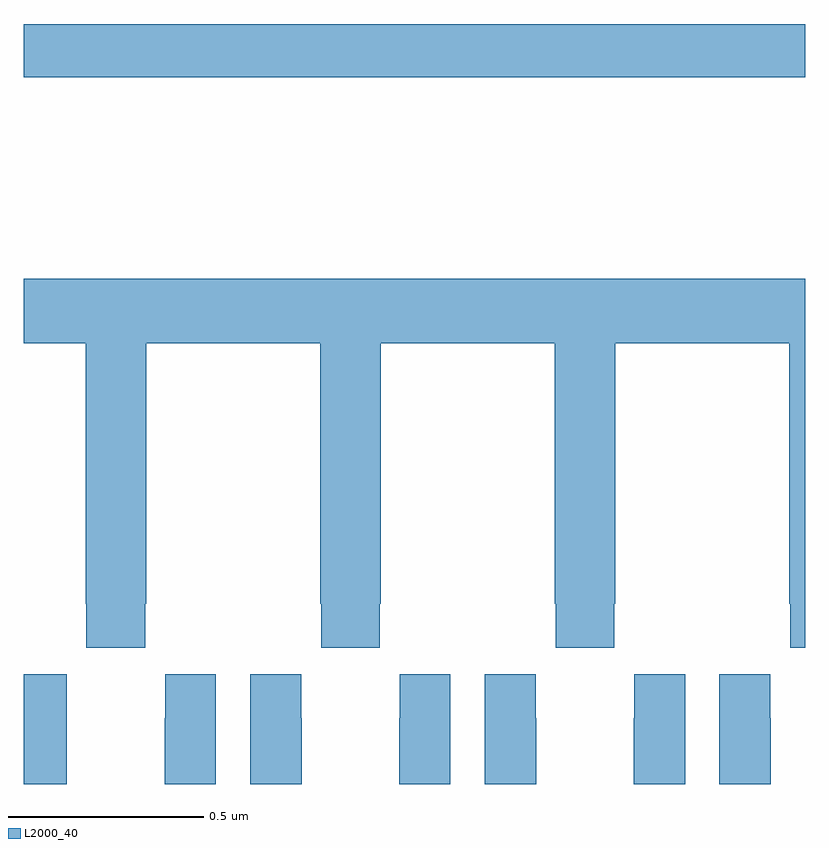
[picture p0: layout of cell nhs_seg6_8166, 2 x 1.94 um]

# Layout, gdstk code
import gdstk
lib = gdstk.Library(unit=1e-6, precision=1e-09)
def R(c, l, rs):  # rectangles x0, y0, x1, y1
    for r in rs: c.add(gdstk.rectangle(r[:2], r[2:], *l))
def P(c, l, *ps):  # polygons
    for p in ps: c.add(gdstk.Polygon(p, *l))
L2000_40 = (2000, 40)

nhs_seg6_8166 = lib.new_cell('nhs_seg6_8166')
R(nhs_seg6_8166, L2000_40, [(217,989.308,219,989.444)])
P(nhs_seg6_8166, L2000_40, [(217,988.628),(217.159,988.628),(217.159,987.961),(217.161,987.961),(217.161,987.849),(217.311,987.849),(217.311,987.961),(217.314,987.961),(217.314,988.628),(217.759,988.628),(217.759,987.961),(217.761,987.961),(217.761,987.849),(217.911,987.849),(217.911,987.961),(217.914,987.961),(217.914,988.628),(218.359,988.628),(218.359,987.961),(218.361,987.961),(218.361,987.849),(218.511,987.849),(218.511,987.961),(218.514,987.961),(218.514,988.628),(218.959,988.628),(218.959,987.961),(218.961,987.961),(218.961,987.849),(219,987.849),(219,988.792),(217,988.792)],
  [(218.911,987.668),(218.91,987.668),(218.91,987.781),(218.78,987.781),(218.78,987.5),(218.911,987.5)],
  [(218.692,987.781),(218.562,987.781),(218.562,987.668),(218.561,987.668),(218.561,987.5),(218.692,987.5)],
  [(218.311,987.668),(218.31,987.668),(218.31,987.781),(218.18,987.781),(218.18,987.5),(218.311,987.5)],
  [(218.092,987.781),(217.962,987.781),(217.962,987.668),(217.961,987.668),(217.961,987.5),(218.092,987.5)],
  [(217.711,987.668),(217.71,987.668),(217.71,987.781),(217.58,987.781),(217.58,987.5),(217.711,987.5)],
  [(217.492,987.781),(217.362,987.781),(217.362,987.668),(217.361,987.668),(217.361,987.5),(217.492,987.5)],
  [(217.111,987.668),(217.11,987.668),(217.11,987.781),(217,987.781),(217,987.5),(217.111,987.5)])

lib.write_gds('nhs_seg6_8166.gds')
